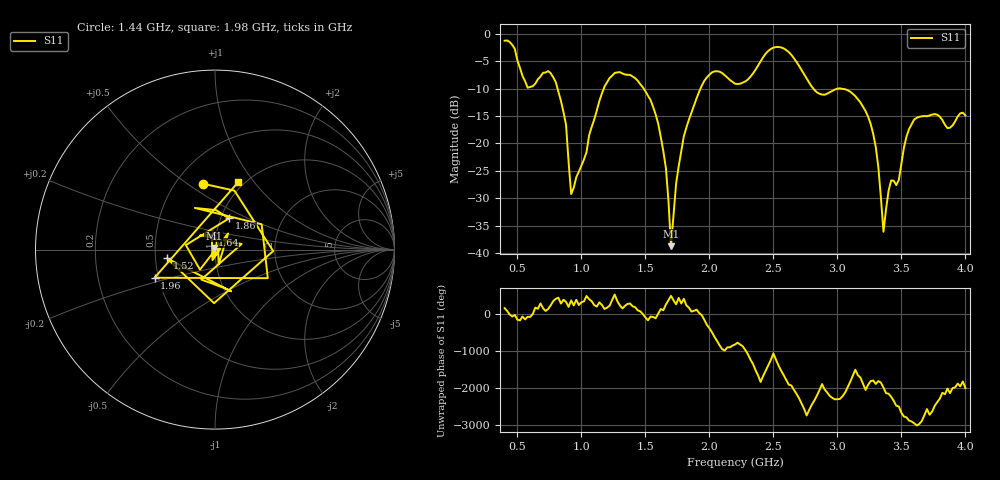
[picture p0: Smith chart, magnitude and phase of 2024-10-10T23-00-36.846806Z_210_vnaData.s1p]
! Created with skrf (http://scikit-rf.org).
# Hz S RI R 50.0
!freq ReS11 ImS11
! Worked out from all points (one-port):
!   181 points, 400 MHz to 4 GHz, reference 50 ohm
!   lowest |S11| = -38.7 dB at 1.7 GHz (marker M1), VSWR 1.02, Z = 49.3 + j0.88 ohm
!   |S11| at or under -10 dB: 813.2 MHz to 1.175 GHz (361.5 MHz wide, 36.4 % of centre); 1.486 GHz to 1.931 GHz (444.8 MHz wide, 26 % of centre); 3.026 GHz to end of sweep (the widest 3 of 4)
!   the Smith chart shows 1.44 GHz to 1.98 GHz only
!   S11 on the Smith chart (normalised r, x): 1.44 GHz: 0.68, +0.58; 1.52 GHz: 0.58, -0.06; 1.64 GHz: 0.95, +0.16; 1.86 GHz: 1.10, +0.40; 1.96 GHz: 0.48, -0.17; 1.98 GHz: 0.94, +0.84
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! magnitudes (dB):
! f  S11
! 400 MHz  -1.3
! 580 MHz  -9.9
! 760 MHz  -7.2
! 860 MHz  -14.3
! 920 MHz  -29.2
! 1.18 GHz  -9.7
! 1.3 GHz  -7.0
! 1.44 GHz  -8.6
! 1.52 GHz  -11.3
! 1.64 GHz  -21.4
! 1.66 GHz  -24.4
! 1.7 GHz  -38.7
! 1.76 GHz  -24.2
! 1.86 GHz  -14.4
! 1.96 GHz  -8.6
! 1.98 GHz  -8.0
! 2.2 GHz  -9.1
! 2.5 GHz  -2.6
! 2.66 GHz  -4.5
! 2.84 GHz  -10.7
! 3.1 GHz  -10.6
! 3.28 GHz  -18.3
! 3.32 GHz  -24.3
! 3.36 GHz  -36.1
! 3.4 GHz  -28.6
! 3.48 GHz  -26.6
! 3.56 GHz  -17.4
! 4 GHz  -14.9
